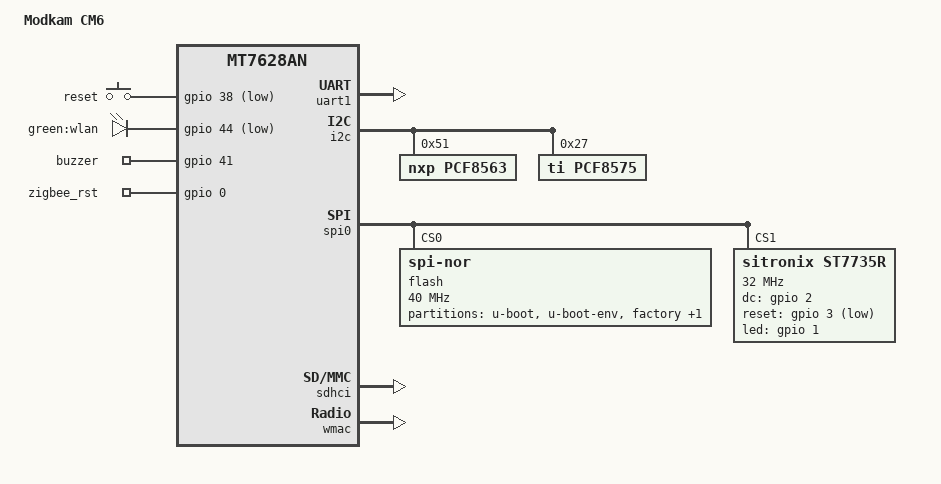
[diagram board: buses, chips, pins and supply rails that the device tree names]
// SPDX-License-Identifier: GPL-2.0-or-later OR MIT

#include "mt7628an.dtsi"

#include <dt-bindings/gpio/gpio.h>
#include <dt-bindings/input/input.h>

/ {
	compatible = "modkam,cm6", "mediatek,mt7628an-soc";
	model = "Modkam CM6";

	aliases {
		led-boot = &led_wlan;
		led-failsafe = &led_wlan;
		led-upgrade = &led_wlan;
		label-mac-device = &ethernet;
	};

	keys {
		compatible = "gpio-keys";

		reset {
			label = "reset";
			gpios = <&gpio 38 GPIO_ACTIVE_LOW>;
			linux,code = <KEY_RESTART>;
		};
	};

	leds {
		compatible = "gpio-leds";

		led_wlan: wlan {
			label = "green:wlan";
			gpios = <&gpio 44 GPIO_ACTIVE_LOW>;
			linux,default-trigger = "phy0tpt";
		};
	};
	
	gpio_export {
                compatible = "gpio-export";
                #size-cells = <0>;

                buzzer {
                        gpio-export,name = "buzzer";
                        gpio-export,output = <1>;
                        gpios = <&gpio 41 GPIO_ACTIVE_HIGH>;
                };

                zigbee_rst {
                        gpio-export,name = "zigbee_rst";
                        gpio-export,output = <1>;
                        gpios = <&gpio 0 GPIO_ACTIVE_HIGH>;
                };
        };
};

&state_default {
	gpio {
		groups = "i2s", "refclk", "wdt", "p4led_an", "p2led_an", "p1led_an", "p0led_an", "wled_an";
		function = "gpio";
	};
};

&uart1 {
	status = "okay";
};

&i2c {
	status = "okay";
	
	pcf8563: rtc@51 {
		status = "okay";
		compatible = "nxp,pcf8563";
		reg = <0x51>;
	};

	pcf8575: gpio@27 {
                compatible = "ti,pcf8575";
                reg = <0x27>;
                gpio-controller;
                #gpio-cells = <2>;
	};
};

&spi0 {
	status = "okay";

	pinctrl-names = "default";
	pinctrl-0 = <&spi_pins>, <&spi_cs1_pins>;

	flash@0 {
		compatible = "jedec,spi-nor";
		reg = <0>;
		spi-max-frequency = <40000000>;
		broken-flash-reset;

		partitions {
			compatible = "fixed-partitions";
			#address-cells = <1>;
			#size-cells = <1>;

			partition@0 {
				label = "u-boot";
				reg = <0x0 0x30000>;
				read-only;
			};

			partition@30000 {
				label = "u-boot-env";
				reg = <0x30000 0x10000>;
				read-only;
			};

			factory: partition@40000 {
				label = "factory";
				reg = <0x40000 0x10000>;
				read-only;
			};

			partition@50000 {
				compatible = "denx,uimage";
				label = "firmware";
				reg = <0x50000 0x1fb0000>;
			};
		};
	};

	st7735r@1 {
		#address-cells = <1>;
		#size-cells = <1>;
		status = "okay";
		compatible = "sitronix,st7735r";
		reg = <1 0>;
		spi-max-frequency = <32000000>;
		fps = <30>;
		buswidth = <8>;
		rotate = <270>;
		dc-gpios = <&gpio 2 GPIO_ACTIVE_HIGH>;
		reset-gpios = <&gpio 3 GPIO_ACTIVE_LOW>;
		led-gpios = <&gpio 1 GPIO_ACTIVE_HIGH>;
		debug = <0x0>;
	};
};

&ethernet {
	nvmem-cells = <&macaddr_factory_28>;
	nvmem-cell-names = "mac-address";
};

&esw {
	mediatek,portmap = <0x3e>;
};

&sdhci {
	status = "okay";
	mediatek,cd-low;
};

&wmac {
	status = "okay";

	mediatek,mtd-eeprom = <&factory 0x0>;
};

&factory {
	compatible = "nvmem-cells";
	#address-cells = <1>;
	#size-cells = <1>;

	macaddr_factory_28: macaddr@28 {
		reg = <0x28 0x6>;
	};
};
